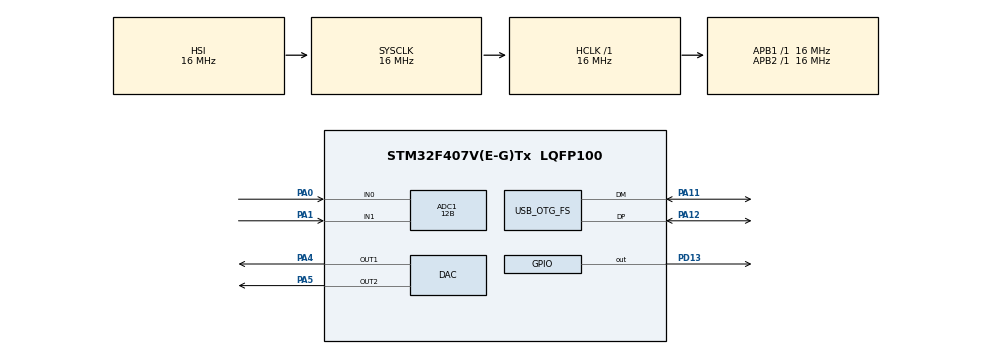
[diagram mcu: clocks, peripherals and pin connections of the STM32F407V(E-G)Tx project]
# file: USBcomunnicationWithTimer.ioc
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ADC1.Channel-0\#ChannelRegularConversion=ADC_CHANNEL_0
ADC1.Channel-1\#ChannelRegularConversion=ADC_CHANNEL_1
ADC1.ClockPrescaler=ADC_CLOCK_SYNC_PCLK_DIV8
ADC1.ContinuousConvMode=ENABLE
ADC1.DMAContinuousRequests=ENABLE
ADC1.DataAlign=ADC_DATAALIGN_RIGHT
ADC1.DiscontinuousConvMode=DISABLE
ADC1.EOCSelection=ADC_EOC_SINGLE_CONV
ADC1.EnableAnalogWatchDog=false
ADC1.ExternalTrigConv=ADC_SOFTWARE_START
ADC1.ExternalTrigConvEdge=ADC_EXTERNALTRIGCONVEDGE_NONE
ADC1.InjNumberOfConversion=0
ADC1.NbrOfConversion=2
ADC1.NbrOfConversionFlag=1
ADC1.Rank-0\#ChannelRegularConversion=1
ADC1.Rank-1\#ChannelRegularConversion=2
ADC1.Resolution=ADC_RESOLUTION_12B
ADC1.SamplingTime-0\#ChannelRegularConversion=ADC_SAMPLETIME_480CYCLES
ADC1.SamplingTime-1\#ChannelRegularConversion=ADC_SAMPLETIME_480CYCLES
ADC1.ScanConvMode=ENABLE
ADC1.master=1
Dma.ADC1.0.Direction=DMA_PERIPH_TO_MEMORY
Dma.ADC1.0.FIFOMode=DMA_FIFOMODE_DISABLE
Dma.ADC1.0.Instance=DMA2_Stream0
Dma.ADC1.0.MemDataAlignment=DMA_MDATAALIGN_WORD
Dma.ADC1.0.MemInc=DMA_MINC_ENABLE
Dma.ADC1.0.Mode=DMA_NORMAL
Dma.ADC1.0.PeriphDataAlignment=DMA_PDATAALIGN_WORD
Dma.ADC1.0.PeriphInc=DMA_PINC_DISABLE
Dma.ADC1.0.Priority=DMA_PRIORITY_LOW
Dma.Request0=ADC1
Mcu.Family=STM32F4
Mcu.Name=STM32F407V(E-G)Tx
Mcu.Package=LQFP100
NVIC.DMA2_Stream0_IRQn=true\:0\:0\:false\:false\:true\:false
NVIC.OTG_FS_IRQn=true\:0\:0\:false\:false\:true\:false
NVIC.PriorityGroup=NVIC_PRIORITYGROUP_4
NVIC.TIM2_IRQn=true\:0\:0\:false\:false\:true\:true
PA0-WKUP.Signal=ADCx_IN0
PA1.Signal=ADCx_IN1
PA11.Mode=Device_Only
PA11.Signal=USB_OTG_FS_DM
PA12.Mode=Device_Only
PA12.Signal=USB_OTG_FS_DP
PA4.Signal=COMP_DAC1_group
PA5.Signal=COMP_DAC2_group
PD13.Signal=GPIO_Output
PH0-OSC_IN.Mode=HSE-External-Oscillator
PH0-OSC_IN.Signal=RCC_OSC_IN
PH1-OSC_OUT.Mode=HSE-External-Oscillator
PH1-OSC_OUT.Signal=RCC_OSC_OUT
ProjectManager.HeapSize=0x200
ProjectManager.StackSize=0x400
ProjectManager.TargetToolchain=SW4STM32
RCC.48MHZClocksFreq_Value=48000000
RCC.AHBFreq_Value=16000000
RCC.APB1Freq_Value=16000000
RCC.APB2Freq_Value=16000000
RCC.CortexFreq_Value=16000000
RCC.HSE_VALUE=8000000
RCC.HSI_VALUE=16000000
RCC.LSE_VALUE=32768
RCC.PLLM=4
RCC.PLLN=72
RCC.PLLQ=3
RCC.SYSCLKFreq_VALUE=16000000
RCC.VCOOutputFreq_Value=144000000
SH.ADCx_IN0.0=ADC1_IN0,IN0
SH.ADCx_IN1.0=ADC1_IN1,IN1
SH.COMP_DAC1_group.0=DAC_OUT1,DAC_OUT1
SH.COMP_DAC2_group.0=DAC_OUT2,DAC_OUT2
TIM2.Period=1
TIM2.Prescaler=16000
TIM2.TIM_MasterOutputTrigger=TIM_TRGO_UPDATE
USB_DEVICE.CLASS_NAME_FS=CDC
USB_DEVICE.VirtualMode-CDC_FS=Cdc
USB_DEVICE.VirtualModeFS=Cdc_FS
USB_OTG_FS.VirtualMode=Device_Only
VP_TIM2_VS_ClockSourceINT.Mode=Internal
VP_USB_DEVICE_VS_USB_DEVICE_CDC_FS.Mode=CDC_FS
board=custom

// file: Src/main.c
/**
  ******************************************************************************
  * @file           : main.c
  * @brief          : Main program body
  ******************************************************************************
  * This notice applies to any and all portions of this file
  * that are not between comment pairs USER CODE BEGIN and
  * USER CODE END. Other portions of this file, whether
  * inserted by the user or by software development tools
  * are owned by their respective copyright owners.
  *
  * Copyright (c) 2018 STMicroelectronics International N.V.
  * All rights reserved.
  *
  * Redistribution and use in source and binary forms, with or without
  * modification, are permitted, provided that the following conditions are met:
  *
  * 1. Redistribution of source code must retain the above copyright notice,
  *    this list of conditions and the following disclaimer.
  * 2. Redistributions in binary form must reproduce the above copyright notice,
  *    this list of conditions and the following disclaimer in the documentation
  *    and/or other materials provided with the distribution.
  * 3. Neither the name of STMicroelectronics nor the names of other
  *    contributors to this software may be used to endorse or promote products
  *    derived from this software without specific written permission.
  * 4. This software, including modifications and/or derivative works of this
  *    software, must execute solely and exclusively on microcontroller or
  *    microprocessor devices manufactured by or for STMicroelectronics.
  * 5. Redistribution and use of this software other than as permitted under
  *    this license is void and will automatically terminate your rights under
  *    this license.
  *
  * THIS SOFTWARE IS PROVIDED BY STMICROELECTRONICS AND CONTRIBUTORS "AS IS"
  * AND ANY EXPRESS, IMPLIED OR STATUTORY WARRANTIES, INCLUDING, BUT NOT
  * LIMITED TO, THE IMPLIED WARRANTIES OF MERCHANTABILITY, FITNESS FOR A
  * PARTICULAR PURPOSE AND NON-INFRINGEMENT OF THIRD PARTY INTELLECTUAL PROPERTY
  * RIGHTS ARE DISCLAIMED TO THE FULLEST EXTENT PERMITTED BY LAW. IN NO EVENT
  * SHALL STMICROELECTRONICS OR CONTRIBUTORS BE LIABLE FOR ANY DIRECT, INDIRECT,
  * INCIDENTAL, SPECIAL, EXEMPLARY, OR CONSEQUENTIAL DAMAGES (INCLUDING, BUT NOT
  * LIMITED TO, PROCUREMENT OF SUBSTITUTE GOODS OR SERVICES; LOSS OF USE, DATA,
  * OR PROFITS; OR BUSINESS INTERRUPTION) HOWEVER CAUSED AND ON ANY THEORY OF
  * LIABILITY, WHETHER IN CONTRACT, STRICT LIABILITY, OR TORT (INCLUDING
  * NEGLIGENCE OR OTHERWISE) ARISING IN ANY WAY OUT OF THE USE OF THIS SOFTWARE,
  * EVEN IF ADVISED OF THE POSSIBILITY OF SUCH DAMAGE.
  *
  ******************************************************************************
  */
#include "main.h"
#include "stm32f4xx_hal.h"
#include "usb_device.h"

ADC_HandleTypeDef hadc1;
DMA_HandleTypeDef hdma_adc1;

DAC_HandleTypeDef hdac;

TIM_HandleTypeDef htim2;

/* USER CODE BEGIN PV */
/* Private variables ---------------------------------------------------------*/

// ADC storage variable
uint32_t ADCValue[2];
uint16_t ADC1Buffer[4096], ADC2Buffer[4096];

// USB struct variable
struct USBHandler USBh;

//USBh.timeoutCounter=1;
//USBh.flags = 0;

/* USER CODE END PV */

void SystemClock_Config(void);
static void MX_GPIO_Init(void);
static void MX_DMA_Init(void);
static void MX_ADC1_Init(void);
static void MX_DAC_Init(void);
static void MX_TIM2_Init(void);

/* USER CODE BEGIN PFP */
/* Private function prototypes -----------------------------------------------*/

void USBHandlerTimeOut(void);
void setDACValue(uint8_t,uint16_t);
void doVoltageSweep(uint8_t);
void transmitData(void);

/* USER CODE END PFP */

int main(void)
{

  /* MCU Configuration----------------------------------------------------------*/

  /* Reset of all peripherals, Initializes the Flash interface and the Systick. */
  HAL_Init();

  /* Configure the system clock */
  SystemClock_Config();

  /* Initialize all configured peripherals */
  MX_GPIO_Init();
  MX_DMA_Init();
  MX_ADC1_Init();
  MX_DAC_Init();
  MX_TIM2_Init();
  MX_USB_DEVICE_Init();
  /* USER CODE BEGIN 2 */

  HAL_TIM_Base_Start_IT(&htim2);

  HAL_DAC_Start(&hdac,DAC_CHANNEL_1);
  HAL_DAC_Start(&hdac,DAC_CHANNEL_2);

  USBh.flags = 0;
  USBh.len = 0;
  USBh.timeoutCounter = 0;

  /* USER CODE END 2 */

  /* Infinite loop */
  while (1)
  {

  /* USER CODE BEGIN 3 */
	  if(USBh.flags == 2)
	  {
		  USBHandlerTimeOut();
	  }
  }
  /* USER CODE END 3 */

}

void SystemClock_Config(void)
{

  RCC_OscInitTypeDef RCC_OscInitStruct;
  RCC_ClkInitTypeDef RCC_ClkInitStruct;

    /**Configure the main internal regulator output voltage
    */
  __HAL_RCC_PWR_CLK_ENABLE();

  __HAL_PWR_VOLTAGESCALING_CONFIG(PWR_REGULATOR_VOLTAGE_SCALE1);

    /**Initializes the CPU, AHB and APB busses clocks
    */
  RCC_OscInitStruct.OscillatorType = RCC_OSCILLATORTYPE_HSI|RCC_OSCILLATORTYPE_HSE;
  RCC_OscInitStruct.HSEState = RCC_HSE_ON;
  RCC_OscInitStruct.HSIState = RCC_HSI_ON;
  RCC_OscInitStruct.HSICalibrationValue = 16;
  RCC_OscInitStruct.PLL.PLLState = RCC_PLL_ON;
  RCC_OscInitStruct.PLL.PLLSource = RCC_PLLSOURCE_HSE;
  RCC_OscInitStruct.PLL.PLLM = 4;
  RCC_OscInitStruct.PLL.PLLN = 72;
  RCC_OscInitStruct.PLL.PLLP = RCC_PLLP_DIV2;
  RCC_OscInitStruct.PLL.PLLQ = 3;
  if (HAL_RCC_OscConfig(&RCC_OscInitStruct) != HAL_OK)
  {
    _Error_Handler(__FILE__, __LINE__);
  }

    /**Initializes the CPU, AHB and APB busses clocks
    */
  RCC_ClkInitStruct.ClockType = RCC_CLOCKTYPE_HCLK|RCC_CLOCKTYPE_SYSCLK
                              |RCC_CLOCKTYPE_PCLK1|RCC_CLOCKTYPE_PCLK2;
  RCC_ClkInitStruct.SYSCLKSource = RCC_SYSCLKSOURCE_HSI;
  RCC_ClkInitStruct.AHBCLKDivider = RCC_SYSCLK_DIV1;
  RCC_ClkInitStruct.APB1CLKDivider = RCC_HCLK_DIV1;
  RCC_ClkInitStruct.APB2CLKDivider = RCC_HCLK_DIV1;

  if (HAL_RCC_ClockConfig(&RCC_ClkInitStruct, FLASH_LATENCY_0) != HAL_OK)
  {
    _Error_Handler(__FILE__, __LINE__);
  }

    /**Configure the Systick interrupt time
    */
  HAL_SYSTICK_Config(HAL_RCC_GetHCLKFreq()/1000);

    /**Configure the Systick
    */
  HAL_SYSTICK_CLKSourceConfig(SYSTICK_CLKSOURCE_HCLK);

  /* SysTick_IRQn interrupt configuration */
  HAL_NVIC_SetPriority(SysTick_IRQn, 0, 0);
}

/* ADC1 init function */
static void MX_ADC1_Init(void)
{

  ADC_ChannelConfTypeDef sConfig;

    /**Configure the global features of the ADC (Clock, Resolution, Data Alignment and number of conversion)
    */
  hadc1.Instance = ADC1;
  hadc1.Init.ClockPrescaler = ADC_CLOCK_SYNC_PCLK_DIV8;
  hadc1.Init.Resolution = ADC_RESOLUTION_12B;
  hadc1.Init.ScanConvMode = ENABLE;
  hadc1.Init.ContinuousConvMode = ENABLE;
  hadc1.Init.DiscontinuousConvMode = DISABLE;
  hadc1.Init.ExternalTrigConvEdge = ADC_EXTERNALTRIGCONVEDGE_NONE;
  hadc1.Init.ExternalTrigConv = ADC_SOFTWARE_START;
  hadc1.Init.DataAlign = ADC_DATAALIGN_RIGHT;
  hadc1.Init.NbrOfConversion = 2;
  hadc1.Init.DMAContinuousRequests = ENABLE;
  hadc1.Init.EOCSelection = ADC_EOC_SEQ_CONV;
  if (HAL_ADC_Init(&hadc1) != HAL_OK)
  {
    _Error_Handler(__FILE__, __LINE__);
  }

    /**Configure for the selected ADC regular channel its corresponding rank in the sequencer and its sample time.
    */
  sConfig.Channel = ADC_CHANNEL_0;
  sConfig.Rank = 1;
  sConfig.SamplingTime = ADC_SAMPLETIME_480CYCLES;
  if (HAL_ADC_ConfigChannel(&hadc1, &sConfig) != HAL_OK)
  {
    _Error_Handler(__FILE__, __LINE__);
  }

    /**Configure for the selected ADC regular channel its corresponding rank in the sequencer and its sample time.
    */
  sConfig.Channel = ADC_CHANNEL_1;
  sConfig.Rank = 2;
  if (HAL_ADC_ConfigChannel(&hadc1, &sConfig) != HAL_OK)
  {
    _Error_Handler(__FILE__, __LINE__);
  }

}

/* DAC init function */
static void MX_DAC_Init(void)
{

  DAC_ChannelConfTypeDef sConfig;

    /**DAC Initialization
    */
  hdac.Instance = DAC;
  if (HAL_DAC_Init(&hdac) != HAL_OK)
  {
    _Error_Handler(__FILE__, __LINE__);
  }

    /**DAC channel OUT1 config
    */
  sConfig.DAC_Trigger = DAC_TRIGGER_NONE;
  sConfig.DAC_OutputBuffer = DAC_OUTPUTBUFFER_ENABLE;
  if (HAL_DAC_ConfigChannel(&hdac, &sConfig, DAC_CHANNEL_1) != HAL_OK)
  {
    _Error_Handler(__FILE__, __LINE__);
  }

    /**DAC channel OUT2 config
    */
  if (HAL_DAC_ConfigChannel(&hdac, &sConfig, DAC_CHANNEL_2) != HAL_OK)
  {
    _Error_Handler(__FILE__, __LINE__);
  }

}

/* TIM2 init function */
static void MX_TIM2_Init(void)
{

  TIM_ClockConfigTypeDef sClockSourceConfig;
  TIM_MasterConfigTypeDef sMasterConfig;

  htim2.Instance = TIM2;
  htim2.Init.Prescaler = 16000;
  htim2.Init.CounterMode = TIM_COUNTERMODE_UP;
  htim2.Init.Period = 1;
  htim2.Init.ClockDivision = TIM_CLOCKDIVISION_DIV1;
  if (HAL_TIM_Base_Init(&htim2) != HAL_OK)
  {
    _Error_Handler(__FILE__, __LINE__);
  }

  sClockSourceConfig.ClockSource = TIM_CLOCKSOURCE_INTERNAL;
  if (HAL_TIM_ConfigClockSource(&htim2, &sClockSourceConfig) != HAL_OK)
  {
    _Error_Handler(__FILE__, __LINE__);
  }

  sMasterConfig.MasterOutputTrigger = TIM_TRGO_UPDATE;
  sMasterConfig.MasterSlaveMode = TIM_MASTERSLAVEMODE_DISABLE;
  if (HAL_TIMEx_MasterConfigSynchronization(&htim2, &sMasterConfig) != HAL_OK)
  {
    _Error_Handler(__FILE__, __LINE__);
  }

}

static void MX_DMA_Init(void)
{
  /* DMA controller clock enable */
  __HAL_RCC_DMA2_CLK_ENABLE();

  /* DMA interrupt init */
  /* DMA2_Stream0_IRQn interrupt configuration */
  HAL_NVIC_SetPriority(DMA2_Stream0_IRQn, 0, 0);
  HAL_NVIC_EnableIRQ(DMA2_Stream0_IRQn);

}

/** Configure pins as
        * Analog
        * Input
        * Output
        * EVENT_OUT
        * EXTI
*/
static void MX_GPIO_Init(void)
{

  GPIO_InitTypeDef GPIO_InitStruct;

  /* GPIO Ports Clock Enable */
  __HAL_RCC_GPIOH_CLK_ENABLE();
  __HAL_RCC_GPIOA_CLK_ENABLE();
  __HAL_RCC_GPIOD_CLK_ENABLE();

  /*Configure GPIO pin Output Level */
  HAL_GPIO_WritePin(GPIOD, GPIO_PIN_13, GPIO_PIN_RESET);

  /*Configure GPIO pin : PD13 */
  GPIO_InitStruct.Pin = GPIO_PIN_13;
  GPIO_InitStruct.Mode = GPIO_MODE_OUTPUT_PP;
  GPIO_InitStruct.Pull = GPIO_NOPULL;
  GPIO_InitStruct.Speed = GPIO_SPEED_FREQ_LOW;
  HAL_GPIO_Init(GPIOD, &GPIO_InitStruct);

}

/* USER CODE BEGIN 4 */
void HAL_TIM_PeriodElapsedCallback(TIM_HandleTypeDef *htim)
{
  /* Prevent unused argument(s) compilation warning */
  UNUSED(htim);
  /* NOTE : This function Should not be modified, when the callback is needed,
            the __HAL_TIM_PeriodElapsedCallback could be implemented in the user file
   */

  if(USBh.timeoutCounter>0)
	  USBh.timeoutCounter--;

  // If there is data comming and time out
  if(USBh.timeoutCounter == 0 && USBh.flags == 1)
	  // Timeout. Data ready to process
	  USBh.flags = 2;
}

void USBHandlerTimeOut()
{
	uint16_t value;
	uint8_t msg[30];
	switch(USBh.data[0])
	{
	case 'd':
		//setSweepDelay(USBh.data[1]);
		break;
	case 's':
		value = atoi(USBh.data+2);
		setDACValue(USBh.data[1]-'0',value);
		break;
	case 'v':
		doVoltageSweep(USBh.data[1]-'0');
		break;
	case 'r':
		HAL_Delay(100);
		transmitData();
		break;
	}

	CDC_Transmit_FS("OK\n",3);

	USBh.timeoutCounter = 0;
	USBh.flags = 0;
	USBh.len = 0;
}

void setDACValue(uint8_t dac,uint16_t value)
{
	uint8_t msg[30];
	sprintf(msg,"Alterando valor do DAC%d: %d\n",dac,value);
	CDC_Transmit_FS(msg,strlen(msg));

	if (value > 4096)
		return;

	if (dac == 1)
		HAL_DAC_SetValue(&hdac,DAC_CHANNEL_1,DAC_ALIGN_12B_R,value);
	else if (dac == 2)
		HAL_DAC_SetValue(&hdac,DAC_CHANNEL_2,DAC_ALIGN_12B_R,value);
}

void doVoltageSweep(uint8_t dac)
{
	uint16_t dacValue;
	uint8_t msg[80];

	for (dacValue = 0; dacValue <= 0xFFF; dacValue++)
	{
		if (dac == 1)
			HAL_DAC_SetValue(&hdac,DAC_CHANNEL_1,DAC_ALIGN_12B_R,dacValue);
		else if (dac == 2)
			HAL_DAC_SetValue(&hdac,DAC_CHANNEL_2,DAC_ALIGN_12B_R,dacValue);

		HAL_Delay(1);

		HAL_ADC_Start_DMA(&hadc1,(uint32_t *) ADCValue,2);
		if (HAL_ADC_PollForConversion(&hadc1,1) == HAL_OK){}
		HAL_ADC_Stop_DMA(&hadc1);

		if (dacValue % 500 == 0)
		{
			sprintf(msg,"DAC #%d:\t%d\n",dac,dacValue);
			CDC_Transmit_FS(msg,strlen(msg));
		}

		ADC1Buffer[dacValue] = ADCValue[0];
		ADC2Buffer[dacValue] = ADCValue[1];
	}

	if (dac == 1)
		HAL_DAC_SetValue(&hdac,DAC_CHANNEL_1,DAC_ALIGN_12B_R,0);
	else if (dac == 2)
		HAL_DAC_SetValue(&hdac,DAC_CHANNEL_2,DAC_ALIGN_12B_R,0);
}

void transmitData()
{
	uint8_t msgBuffer[4096],temp[40];
	uint16_t msgCounter,adcCounter;

	strcpy(msgBuffer,"ADC1\tADC2\n");

	for (msgCounter=0;msgCounter<4096;msgCounter++)
	{
		sprintf(temp,"%d\t%d\n",ADC1Buffer[msgCounter],ADC2Buffer[msgCounter]);
		strcat(msgBuffer,temp);

		if (msgCounter % 100 == 0)
		{
			CDC_Transmit_FS(msgBuffer,strlen(msgBuffer));
			strcpy(msgBuffer,"");
		}
	}

	CDC_Transmit_FS('\n',1);

	return;
}
/* USER CODE END 4 */

void _Error_Handler(char *file, int line)
{
  while(1)
  {
  }
}

/************************ (C) COPYRIGHT STMicroelectronics *****END OF FILE****/
